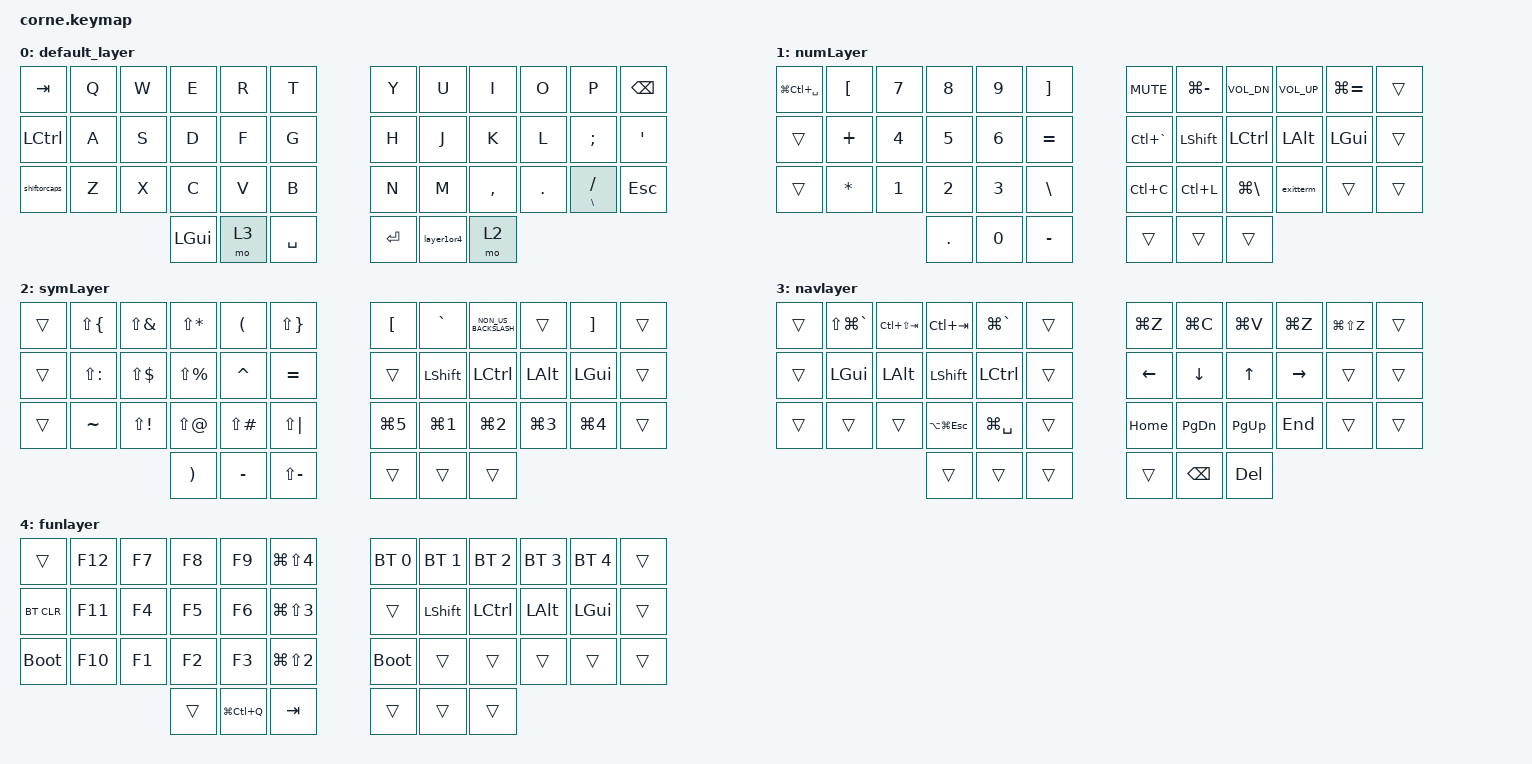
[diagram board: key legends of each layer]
/*
 * Copyright (c) 2020 The ZMK Contributors
 *
 * SPDX-License-Identifier: MIT
 */

#include <behaviors.dtsi>
#include <dt-bindings/zmk/bt.h>
#include <dt-bindings/zmk/keys.h>

/ {
    combos {
        compatible = "zmk,combos";

        // symbols

        cb_excl {
            bindings = <&kp EXCL>;
            key-positions = <1 13>;
            timeout-ms = <30>;
        };

        cb_at {
            bindings = <&kp AT>;
            key-positions = <2 14>;
            timeout-ms = <30>;
        };

        cb_hash {
            bindings = <&kp HASH>;
            key-positions = <3 15>;
            timeout-ms = <30>;
        };

        cb_dllr {
            bindings = <&kp DLLR>;
            key-positions = <4 16>;
            timeout-ms = <30>;
        };

        cb_prcnt {
            bindings = <&kp PRCNT>;
            key-positions = <5 17>;
            timeout-ms = <30>;
        };

        cb_caret {
            bindings = <&kp CARET>;
            key-positions = <6 18>;
            timeout-ms = <30>;
        };

        cb_amps {
            bindings = <&kp LEFT_PARENTHESIS>;
            key-positions = <7 19>;
            timeout-ms = <30>;
        };

        cb_mult {
            bindings = <&kp RIGHT_PARENTHESIS>;
            key-positions = <8 20>;
            timeout-ms = <30>;
        };

        cb_lparen {
            bindings = <&kp ASTERISK>;
            key-positions = <9 21>;
            timeout-ms = <30>;
        };

        cb_rparen {
            bindings = <&kp AMPERSAND>;
            key-positions = <10 22>;
            timeout-ms = <30>;
        };

        play-pause {
            bindings = <&kp C_PLAY_PAUSE>;
            key-positions = <19 20>;
        };

        print-save {
            bindings = <&kp LG(LS(NUMBER_4))>;
            key-positions = <15 16>;
        };

        copy {
            bindings = <&kp LG(C)>;
            key-positions = <16 17>;
        };

        paste {
            bindings = <&kp LG(V)>;
            key-positions = <28 29>;
        };

        select-all {
            bindings = <&kp LG(A)>;
            key-positions = <5 4>;
        };

        next-song {
            bindings = <&kp C_NEXT>;
            key-positions = <31 32>;
        };

        prev-song {
            bindings = <&kp C_PREV>;
            key-positions = <19 18>;
        };

        backspace {
            bindings = <&kp BACKSPACE>;
            key-positions = <6 7>;
        };

        esc {
            bindings = <&kp ESCAPE>;
            key-positions = <4 3>;
        };
    };

    behaviors {
        holdtolayer: holdtolayer {
            compatible = "zmk,behavior-hold-tap";
            label = "HOLDTOLAYER";
            bindings = <&mo>, <&kp>;

            #binding-cells = <2>;
            tapping-term-ms = <1000>;
        };

        holdortap: holdortap {
            compatible = "zmk,behavior-hold-tap";
            label = "HOLDORTAP";
            bindings = <&kp>, <&kp>;

            #binding-cells = <2>;
            tapping-term-ms = <1000>;
        };

        layer1or4: layer1or4 {
            compatible = "zmk,behavior-tap-dance";
            label = "LAYER1OR4";
            #binding-cells = <0>;
            bindings = <&mo 1>, <&mo 4>;
        };

        shiftorcaps: shiftorcaps {
            compatible = "zmk,behavior-tap-dance";
            label = "SHIFTORCAPS";
            #binding-cells = <0>;
            bindings = <&kp LEFT_SHIFT>, <&kp CAPS>;
        };
    };

    macros {
        exitterm: exitterm {
            compatible = "zmk,behavior-macro";
            #binding-cells = <0>;
            bindings = <&kp E &kp X &kp I &kp T &kp RET>;
            label = "EXITTERM";
        };
    };

    keymap {
        compatible = "zmk,keymap";

        default_layer {
            // -----------------------------------------------------------------------------------------
            // |  TAB |  Q  |  W  |  E  |  R  |  T  |   |  Y  |  U   |  I  |  O  |  P  | BKSP |
            // | CTRL |  A  |  S  |  D  |  F  |  G  |   |  H  |  J   |  K  |  L  |  ;  |  '   |
            // | SHFT |  Z  |  X  |  C  |  V  |  B  |   |  N  |  M   |  ,  |  .  |  /  | ESC  |
            //                    | GUI | LWR | SPC |   | ENT | RSE  | ALT |

            bindings = <
&kp TAB       &kp Q  &kp W  &kp E     &kp R  &kp T        &kp Y    &kp U       &kp I      &kp O    &kp P                       &kp BSPC
&kp LCTRL     &kp A  &kp S  &kp D     &kp F  &kp G        &kp H    &kp J       &kp K      &kp L    &kp SEMI                    &kp SQT
&shiftorcaps  &kp Z  &kp X  &kp C     &kp V  &kp B        &kp N    &kp M       &kp COMMA  &kp DOT  &holdortap BACKSLASH SLASH  &kp ESC
                            &kp LGUI  &mo 3  &kp SPACE    &kp RET  &layer1or4  &mo 2
            >;
        };

        numLayer {
            bindings = <
&kp LG(LC(SPACE))  &kp LBKT      &kp N7  &kp N8   &kp N9  &kp RBKT     &kp K_MUTE     &kp LG(MINUS)  &kp C_VOL_DN       &kp C_VOLUME_UP  &kp LG(EQUAL)  &trans
&trans             &kp PLUS      &kp N4  &kp N5   &kp N6  &kp EQUAL    &kp LC(GRAVE)  &kp LSHFT      &kp LCTRL          &kp LALT         &kp LGUI       &trans
&trans             &kp ASTERISK  &kp N1  &kp N2   &kp N3  &kp BSLH     &kp LC(C)      &kp LC(L)      &kp LG(BACKSLASH)  &exitterm        &trans         &trans
                                         &kp DOT  &kp N0  &kp MINUS    &trans         &trans         &trans
            >;
        };

        symLayer {
            bindings = <
&trans  &kp LS(LBRC)   &kp LS(AMPS)  &kp LS(STAR)           &kp LEFT_PARENTHESIS  &kp LS(RBRC)     &kp LEFT_BRACKET  &kp GRAVE         &kp NON_US_BACKSLASH  &trans            &kp RIGHT_BRACKET  &trans
&trans  &kp LS(COLON)  &kp LS(DLLR)  &kp LS(PRCNT)          &kp CARET             &kp EQUAL        &trans            &kp LSHFT         &kp LCTRL             &kp LALT          &kp LGUI           &trans
&trans  &kp TILDE      &kp LS(EXCL)  &kp LS(AT)             &kp LS(POUND)         &kp LS(PIPE)     &kp LG(N5)        &kp LG(NUMBER_1)  &kp LG(NUMBER_2)      &kp LG(NUMBER_3)  &kp LG(NUMBER_4)   &trans
                                     &kp RIGHT_PARENTHESIS  &kp MINUS             &kp LS(MINUS)    &trans            &trans            &trans
            >;
        };

        navlayer {
            bindings = <
&trans  &kp LS(LG(GRAVE))  &kp LC(LS(TAB))  &kp LC(TAB)         &kp LG(GRAVE)     &trans    &kp LG(Z)  &kp LG(C)      &kp LG(V)     &kp LG(Z)  &kp LG(LS(Z))  &trans
&trans  &kp LGUI           &kp LALT         &kp LEFT_SHIFT      &kp LEFT_CONTROL  &trans    &kp LEFT   &kp DOWN       &kp UP_ARROW  &kp RIGHT  &trans         &trans
&trans  &trans             &trans           &kp LA(LG(ESCAPE))  &kp LG(SPACE)     &trans    &kp HOME   &kp PAGE_DOWN  &kp PAGE_UP   &kp END    &trans         &trans
                                            &trans              &trans            &trans    &trans     &kp BACKSPACE  &kp DEL
            >;
        };

        funlayer {
            bindings = <
&trans       &kp F12  &kp F7  &kp F8  &kp F9         &kp LG(LS(NUMBER_4))    &bt BT_SEL 0  &bt BT_SEL 1  &bt BT_SEL 2  &bt BT_SEL 3  &bt BT_SEL 4  &trans
&bt BT_CLR   &kp F11  &kp F4  &kp F5  &kp F6         &kp LG(LS(NUMBER_3))    &trans        &kp LSHFT     &kp LCTRL     &kp LALT      &kp LGUI      &trans
&bootloader  &kp F10  &kp F1  &kp F2  &kp F3         &kp LG(LS(NUMBER_2))    &bootloader   &trans        &trans        &trans        &trans        &trans
                              &trans  &kp LG(LC(Q))  &kp TAB                 &trans        &trans        &trans
            >;
        };
    };

    conditional_layers { compatible = "zmk,conditional-layers"; };
};
